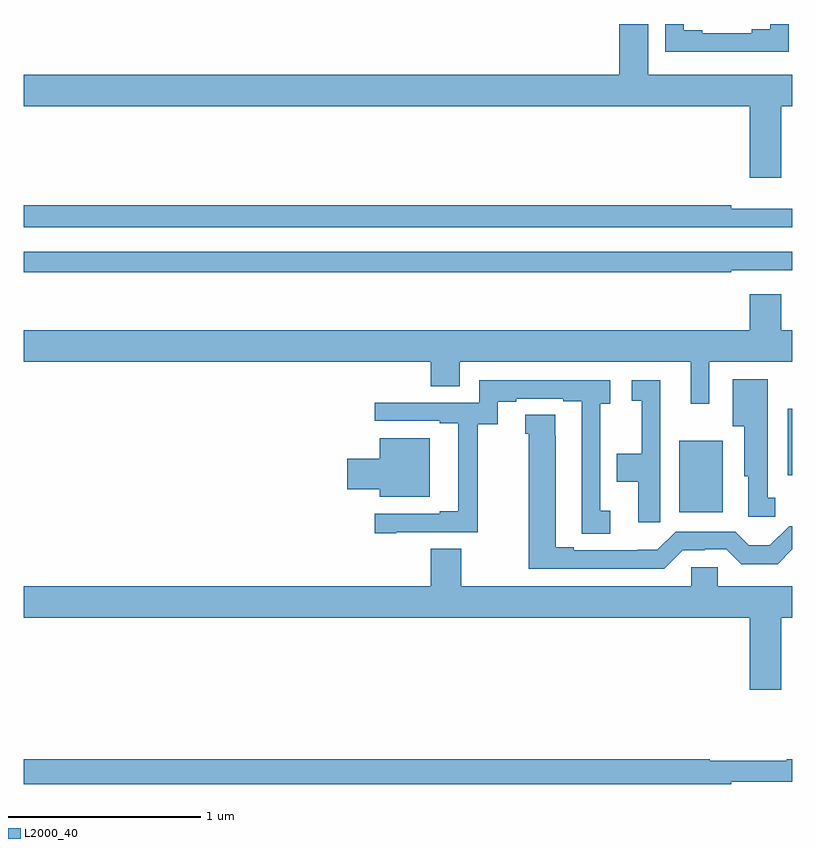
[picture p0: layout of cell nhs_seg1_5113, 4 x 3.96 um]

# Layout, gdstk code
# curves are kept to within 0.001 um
import gdstk
lib = gdstk.Library(unit=1e-6, precision=1e-09)
def R(c, l, rs):  # rectangles x0, y0, x1, y1
    for r in rs: c.add(gdstk.rectangle(r[:2], r[2:], *l))
def P(c, l, *ps):  # polygons
    for p in ps: c.add(gdstk.Polygon(p, *l))
L2000_40 = (2000, 40)

nhs_seg1_5113 = lib.new_cell('nhs_seg1_5113')
R(nhs_seg1_5113, L2000_40, [(392.411,509.657,392.638,510.028), (392.976,509.85,393,510.196)])
P(nhs_seg1_5113, L2000_40, [(392.944,511.772),(393,511.772),(393,511.936),(392.251,511.936),(392.251,512.199),(392.099,512.199),(392.099,511.936),(389,511.936),(389,511.772),(392.78,511.772),(392.78,511.398),(392.944,511.398)],
  [(392.982,512.199),(392.885,512.199),(392.885,512.171),(392.789,512.171),(392.789,512.151),(392.533,512.151),(392.533,512.166),(392.437,512.166),(392.437,512.199),(392.34,512.199),(392.34,512.055),(392.982,512.055)],
  [(393,511.237),(392.684,511.237),(392.684,511.256),(389,511.256),(389,511.14),(393,511.14)],
  [(392.684,510.918),(393,510.918),(393,511.014),(389,511.014),(389,510.906),(392.684,510.906)],
  [(392.568,510.44),(393,510.44),(393,510.604),(392.944,510.604),(392.944,510.793),(392.78,510.793),(392.78,510.604),(389,510.604),(389,510.44),(391.118,510.44),(391.118,510.313),(391.27,510.313),(391.27,510.44),(392.471,510.44),(392.471,510.222),(392.568,510.222)],
  [(392.913,509.733),(392.872,509.733),(392.872,510.349),(392.69,510.349),(392.69,510.104),(392.75,510.104),(392.75,509.844),(392.771,509.844),(392.771,509.634),(392.913,509.634)],
  [(392.053,509.664),(392.001,509.664),(392.001,510.221),(392.053,510.221),(392.053,510.345),(391.371,510.345),(391.371,510.228),(390.828,510.228),(390.828,510.132),(391.166,510.132),(391.166,510.12),(391.262,510.12),(391.262,509.662),(391.166,509.662),(391.166,509.649),(390.828,509.649),(390.828,509.548),(390.94,509.548),(390.94,509.553),(391.364,509.553),(391.364,510.116),(391.468,510.116),(391.468,510.231),(391.564,510.231),(391.564,510.249),(391.808,510.249),(391.808,510.234),(391.904,510.234),(391.904,509.653),(391.905,509.653),(391.905,509.545),(392.053,509.545)],
  [(392.314,510.343),(392.166,510.343),(392.166,510.237),(392.216,510.237),(392.216,509.962),(392.086,509.962),(392.086,509.815),(392.198,509.815),(392.198,509.604),(392.314,509.604)],
  [(392.43,509.46),(392.546,509.46),(392.546,509.463),(392.658,509.463),(392.734,509.387),(392.924,509.387),(393,509.463),(393,509.585),(392.984,509.585),(392.884,509.485),(392.774,509.485),(392.703,509.556),(392.394,509.556),(392.299,509.461),(391.864,509.46),(391.864,509.475),(391.768,509.475),(391.767,510.164),(391.61,510.164),(391.61,510.066),(391.628,510.066),(391.628,509.364),(392.334,509.364)],
  [(391.114,510.043),(390.854,510.043),(390.854,509.935),(390.684,509.935),(390.684,509.777),(390.854,509.777),(390.854,509.738),(391.114,509.738)],
  [(392.944,509.108),(393,509.108),(393,509.272),(392.613,509.272),(392.613,509.37),(392.475,509.37),(392.475,509.272),(391.278,509.272),(391.278,509.468),(391.118,509.468),(391.118,509.272),(389,509.272),(389,509.108),(392.78,509.108),(392.78,508.734),(392.944,508.734)],
  [(392.684,508.254),(393,508.254),(393,508.37),(392.972,508.37),(392.972,508.363),(392.572,508.363),(392.572,508.37),(389,508.37),(389,508.242),(392.684,508.242)])

lib.write_gds('nhs_seg1_5113.gds')
